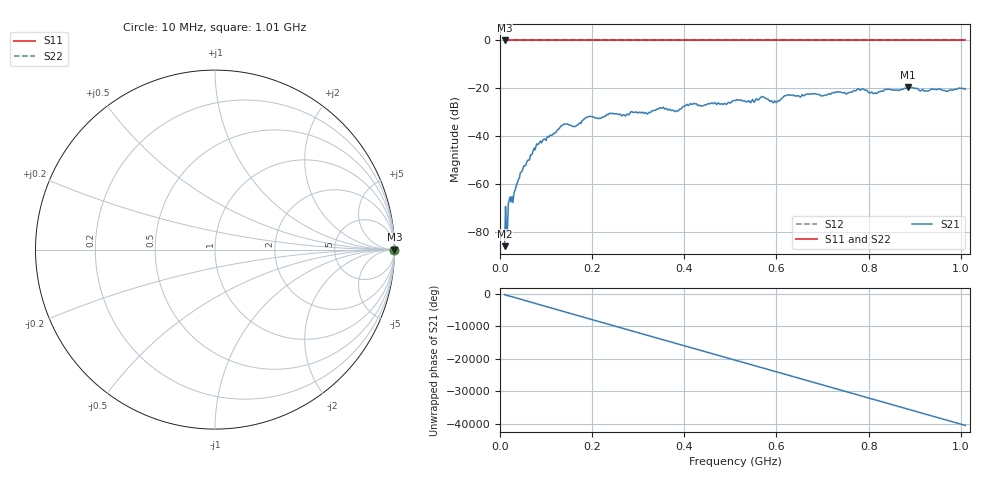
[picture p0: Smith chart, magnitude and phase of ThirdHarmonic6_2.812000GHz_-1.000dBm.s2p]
! 8/17/2025 7:23:36 AM
! C:\ANRITSUVNA\TEMP\TEMP.S2P
! CHANNEL.1
! TR.MEASUREMENT
! RAW.DATA
! RF.CORRECTION.OFF
! AVERAGING.OFF
! IF.BANDWIDTH: 5KHZ
! SWEEPTYPE:  FREQ.SWEEP(Linear)
! Reference Plane Port Info
! PORT:  PORT1  PORT2
! DISTANCE:  0  m  0  m
! TIME:  0  s  0  s
! PHASE.OFFSET:  0  deg.  0  deg.
! LOSS:  0  dB  0  dB
! REF.LOSS:  0  dB  0  dB
! REF.FREQ:  0  Hz  0  Hz
! Power Info
! POWER:  -20  dBm  -20  dBm
! EFF.POWER:  -20  dBm  -20  dBm
! SOURCE.ATTEN:  0  dB  0  dB
! TEST.ATTEN:  0  dB  0  dB
# GHZ S RI R 50.0
! FREQ.GHZ  S11RE  S11IM  S21RE  S21IM  S12RE  S12IM  S22RE  S22IM
!; PortSelection: Port_12
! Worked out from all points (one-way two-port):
!   501 points, 10 MHz to 1.01 GHz, reference 50 ohm
!   highest |S21| = -19.48 dB at 886 MHz (marker M1); lowest = -86.0 dB at 10 MHz (marker M2)
!   lowest |S11| = 0.0 dB at 10 MHz (marker M3)
!   |S11| at or under -10 dB: nowhere
!   |S22| runs from 0.0 to 0.0 dB; largest |S21 - S12| = 1.1
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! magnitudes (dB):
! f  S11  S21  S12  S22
! 10 MHz  0.0  -86.0  0.0  0.0
! 12 MHz  0.0  -69.4  0.0  0.0
! 22 MHz  0.0  -65.4  0.0  0.0
! 28 MHz  0.0  -67.8  0.0  0.0
! 48 MHz  0.0  -54.6  0.0  0.0
! 76 MHz  0.0  -45.7  0.0  0.0
! 136 MHz  0.0  -35.5  0.0  0.0
! 162 MHz  0.0  -36.0  0.0  0.0
! 178 MHz  0.0  -33.6  0.0  0.0
! 192 MHz  0.0  -31.8  0.0  0.0
! 322 MHz  0.0  -30.3  0.0  0.0
! 344 MHz  0.0  -28.6  0.0  0.0
! 382 MHz  0.0  -29.4  0.0  0.0
! 416 MHz  0.0  -26.7  0.0  0.0
! 510 MHz  0.0  -25.1  0.0  0.0
! 570 MHz  0.0  -23.5  0.0  0.0
! 596 MHz  0.0  -25.3  0.0  0.0
! 622 MHz  0.0  -22.9  0.0  0.0
! 678 MHz  0.0  -22.3  0.0  0.0
! 844 MHz  0.0  -20.4  0.0  0.0
! 886 MHz  0.0  -19.5  0.0  0.0
! 1.01 GHz  0.0  -20.5  0.0  0.0
